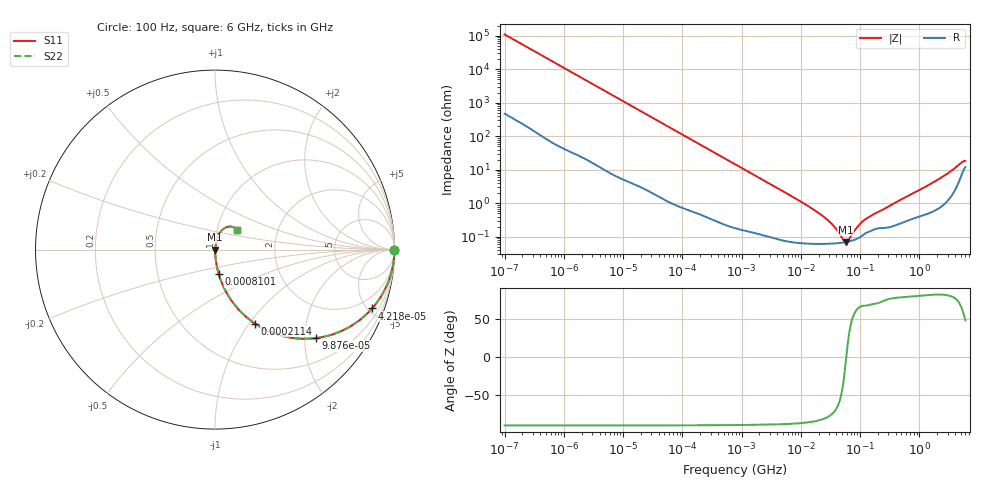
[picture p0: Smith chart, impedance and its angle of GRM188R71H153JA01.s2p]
!Murata Part Number: GRM188R71H153JA01
!These Parameters are Measured in Series Mode Connection
!Data Generated on Mar 30, 2021
!  o--ll--o
!Port1  Port2
!  o------o
!Operation Temp=25[degC], DC Bias Voltage=0[V]
!Freq. Start=100[Hz] Stop=6[GHz] 401[Steps]
# Hz S RI R 50
!Freq.(Hz) S11(Real) S11(Imag) S21(Real) S21(Imag) S12(Real) S12(Imag) S22(Real) S22(Imag)
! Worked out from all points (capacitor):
!   401 points, 100 Hz to 6 GHz, reference 50 ohm
!   read as one part in series: C = 14.4 nF near 109 Hz
!   lowest |Z| = 70 mohm at 56.99 MHz (marker M1)
!   series resonance near 58.5 MHz, so ESL is about 510 pH
!   S11 on the Smith chart (normalised r, x): 100 Hz: open; 42.18 kHz: 1.03, -5.32; 98.76 kHz: 1.01, -2.28; 211.4 kHz: 1.01, -1.07; 810.1 kHz: 1.00, -0.28; 6 GHz: 1.24, +0.27
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100  1 -0.000906  4.7e-06 0.000906  4.7e-06 0.000906  1 -0.000906
2008  0.9996 -0.018  0.000404 0.018  0.000404 0.018  0.9996 -0.018
11514  0.989 -0.1019  0.011 0.1019  0.011 0.1019  0.989 -0.1019
40335  0.8842 -0.3171  0.1158 0.3171  0.1158 0.3171  0.8842 -0.3171
42182  0.8749 -0.3281  0.1251 0.3281  0.1251 0.3281  0.8749 -0.3281
98762  0.5645 -0.4926  0.4355 0.4926  0.4355 0.4926  0.5645 -0.4926
211427  0.2238 -0.4126  0.7762 0.4126  0.7762 0.4126  0.2238 -0.4126
378399  0.0844 -0.2732  0.9156 0.2732  0.9156 0.2732  0.0844 -0.2732
774597  0.0227 -0.143  0.9773 0.143  0.9773 0.143  0.0227 -0.143
810067  0.0209 -0.137  0.9791 0.137  0.9791 0.137  0.0209 -0.137
2594782  0.00298 -0.0439  0.997 0.0439  0.997 0.0439  0.00298 -0.0439
1.555665e7  0.000664 -0.0069  0.9993 0.0069  0.9993 0.0069  0.000664 -0.0069
3.184506e7  0.000629 -0.00255  0.9994 0.00255  0.9994 0.00255  0.000629 -0.00255
5.211241e7  0.000675 -0.000457  0.9993 0.000457  0.9993 0.000457  0.000675 -0.000457
5.699437e7  0.000692 -0.000102  0.9993 0.000102  0.9993 0.000102  0.000692 -0.000102
6.518806e7  0.000727 0.00043  0.9993 -0.00043  0.9993 -0.00043  0.000727 0.00043
8.918374e7  0.000877 0.00172  0.9991 -0.00172  0.9991 -0.00172  0.000877 0.00172
1.166697e8  0.0012 0.00288  0.9988 -0.00288  0.9988 -0.00288  0.0012 0.00288
3.124326e8  0.00199 0.00807  0.998 -0.00807  0.998 -0.00807  0.00199 0.00807
3.065283e9  0.0181 0.0765  0.9819 -0.0765  0.9819 -0.0765  0.0181 0.0765
5.016141e9  0.075 0.128  0.925 -0.128  0.925 -0.128  0.075 0.128
6e9  0.1209 0.1069  0.8791 -0.1069  0.8791 -0.1069  0.1209 0.1069
